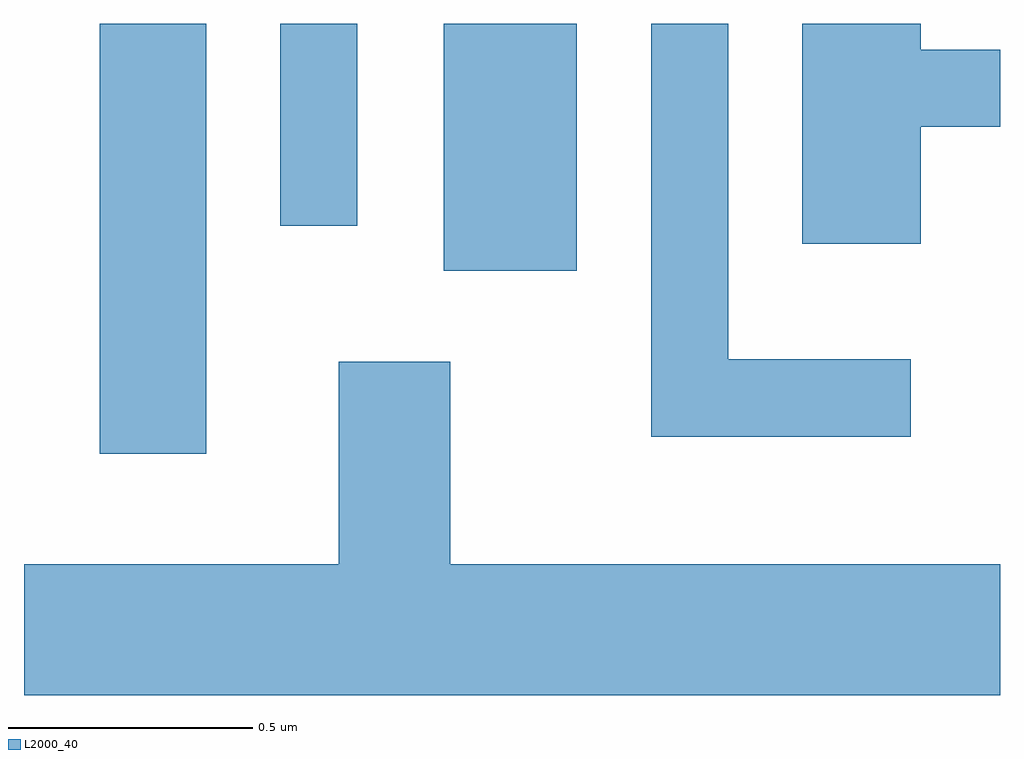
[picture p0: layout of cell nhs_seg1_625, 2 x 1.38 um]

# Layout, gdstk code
import gdstk
lib = gdstk.Library(unit=1e-6, precision=1e-09)
def R(c, l, rs):  # rectangles x0, y0, x1, y1
    for r in rs: c.add(gdstk.rectangle(r[:2], r[2:], *l))
def P(c, l, *ps):  # polygons
    for p in ps: c.add(gdstk.Polygon(p, *l))
L2000_40 = (2000, 40)

nhs_seg1_625 = lib.new_cell('nhs_seg1_625')
R(nhs_seg1_625, L2000_40, [(189.766,917.831,189.984,918.712), (190.471,918.206,190.744,918.712), (190.136,918.298,190.294,918.712)])
P(nhs_seg1_625, L2000_40, [(191.449,918.501),(191.611,918.501),(191.611,918.659),(191.449,918.659),(191.449,918.712),(191.206,918.712),(191.206,918.261),(191.449,918.261)],
  [(191.428,918.024),(191.054,918.024),(191.054,918.712),(190.896,918.712),(190.896,917.866),(191.428,917.866)],
  [(191.611,917.604),(190.484,917.604),(190.484,918.019),(190.256,918.019),(190.256,917.604),(189.611,917.604),(189.611,917.336),(191.611,917.336)])

lib.write_gds('nhs_seg1_625.gds')
